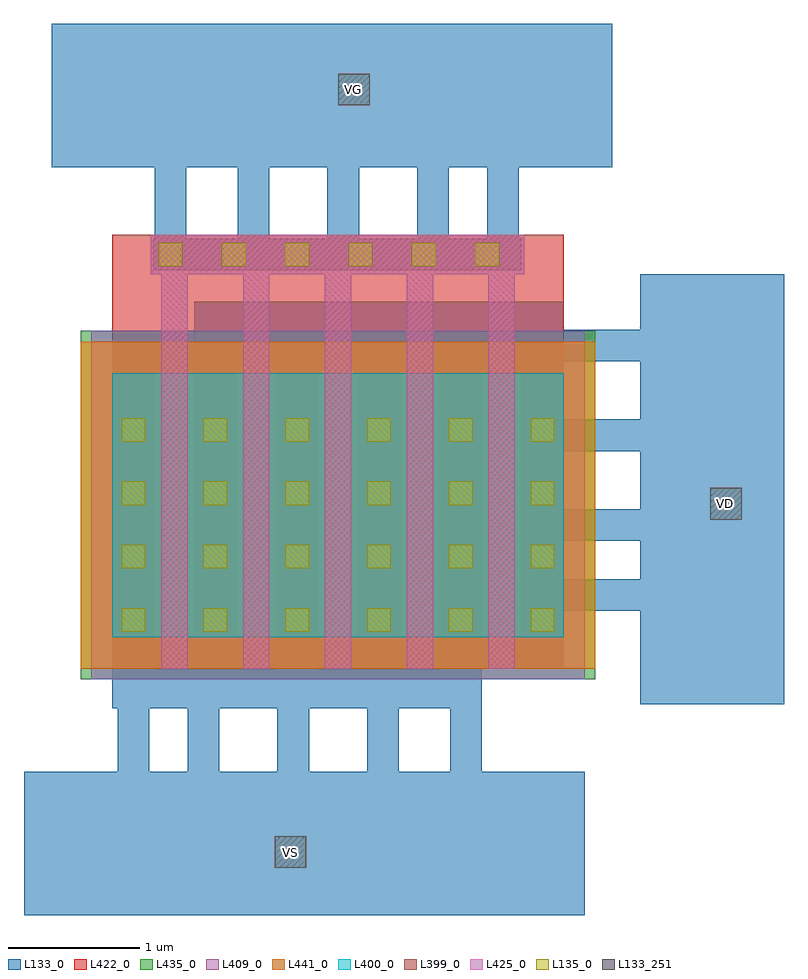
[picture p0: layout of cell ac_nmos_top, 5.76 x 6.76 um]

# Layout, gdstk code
import gdstk
lib = gdstk.Library(unit=1e-6, precision=1e-09)
def R(c, l, rs):  # rectangles x0, y0, x1, y1
    for r in rs: c.add(gdstk.rectangle(r[:2], r[2:], *l))
def A(c, l, x, y, w, h, nx, ny, dx, dy):  # array of equal rectangles
    R(c, l, [(x+i*dx, y+j*dy, x+i*dx+w, y+j*dy+h) for i in range(nx) for j in range(ny)])
L133_0 = (133, 0)
L133_251 = (133, 251)
L135_0 = (135, 0)
L399_0 = (399, 0)
L400_0 = (400, 0)
L409_0 = (409, 0)
L422_0 = (422, 0)
L425_0 = (425, 0)
L435_0 = (435, 0)
L441_0 = (441, 0)

nmos_hs_4_top__1 = lib.new_cell('nmos_hs_4_top$$1')
A(nmos_hs_4_top__1, L133_0, -0.37, -0.3, 0.32, 0.34, 3, 1, 1.24, 0)
A(nmos_hs_4_top__1, L133_0, -0.37, 0, 0.32, 2, 6, 1, 0.62, 0)
A(nmos_hs_4_top__1, L133_0, 0.25, 1.9, 0.32, 0.34, 3, 1, 1.24, 0)
A(nmos_hs_4_top__1, L133_0, -0.06, 2.78, 0.31, 0.24, 9, 1, 0.31, 0)
R(nmos_hs_4_top__1, L133_0, [(-0.37,-0.54,1.19,-0.24), (0.87,-0.54,2.43,-0.24), (-0.28,0.06,-0.14,0.2), (0.34,0.06,0.48,0.2), (0.25,2.24,1.81,2.54), (1.49,2.24,3.05,2.54), (0,2.83,0.14,2.97)])
A(nmos_hs_4_top__1, L135_0, -0.3, 0.04, 0.18, 0.18, 6, 4, 0.62, 0.48)
A(nmos_hs_4_top__1, L135_0, -0.02, 2.81, 0.18, 0.18, 6, 1, 0.48, 0)
A(nmos_hs_4_top__1, L399_0, 0, -0.24, 0.2, 2.99, 5, 1, 0.62, 0)
A(nmos_hs_4_top__1, L399_0, -0.08, 2.75, 0.35, 0.3, 5, 1, 0.62, 0)
A(nmos_hs_4_top__1, L399_0, 0.27, 2.75, 0.27, 0.3, 4, 1, 0.62, 0)
R(nmos_hs_4_top__1, L399_0, [(0.04,0.1,0.1,0.18)])
A(nmos_hs_4_top__1, L400_0, -0.37, 0, 0.32, 2, 6, 1, 0.62, 0)
A(nmos_hs_4_top__1, L400_0, 0, 0, 0.2, 2, 5, 1, 0.62, 0)
R(nmos_hs_4_top__1, L400_0, [(-0.05,0,0,2), (0.2,0,0.25,2), (0.57,0,0.62,2), (0.82,0,0.87,2), (1.19,0,1.24,2), (1.44,0,1.49,2), (1.81,0,1.86,2), (2.06,0,2.11,2), (2.43,0,2.48,2), (2.68,0,2.73,2)])
R(nmos_hs_4_top__1, L409_0, [(-0.53,-0.32,3.21,2.32)])
R(nmos_hs_4_top__1, L422_0, [(-0.37,-0.24,3.05,3.05)])
A(nmos_hs_4_top__1, L425_0, 0, -0.24, 0.2, 2.99, 5, 1, 0.62, 0)
A(nmos_hs_4_top__1, L425_0, -0.08, 2.75, 0.35, 0.3, 5, 1, 0.62, 0)
A(nmos_hs_4_top__1, L425_0, 0.27, 2.75, 0.27, 0.3, 4, 1, 0.62, 0)
R(nmos_hs_4_top__1, L435_0, [(-0.61,-0.32,3.29,2.32)])
R(nmos_hs_4_top__1, L441_0, [(-0.61,-0.24,3.29,2.24)])

ac_nmos_top = lib.new_cell('ac_nmos_top')
R(ac_nmos_top, L133_0, [(-0.09,-0.55,4.16,0.54), (4.58,1.05,5.67,4.31), (0.12,5.12,4.37,6.21)])
R(ac_nmos_top, L133_251, [(1.81,-0.19,2.05,0.05), (5.11,2.45,5.35,2.69), (2.29,5.59,2.53,5.83)])
ac_nmos_top.add(gdstk.FlexPath([(3.85,1.88),(4.86,1.88)], 0.24, ends="flush", simple_path=True, layer=133, datatype=0))  # L133_0
ac_nmos_top.add(gdstk.FlexPath([(3.83,2.41),(4.84,2.41)], 0.24, ends="flush", simple_path=True, layer=133, datatype=0))  # L133_0
ac_nmos_top.add(gdstk.FlexPath([(3.84,3.09),(4.85,3.09)], 0.24, ends="flush", simple_path=True, layer=133, datatype=0))  # L133_0
ac_nmos_top.add(gdstk.FlexPath([(3.85,3.77),(4.86,3.77)], 0.24, ends="flush", simple_path=True, layer=133, datatype=0))  # L133_0
ac_nmos_top.add(gdstk.FlexPath([(0.74,1.27),(0.74,0.26)], 0.24, ends="flush", simple_path=True, layer=133, datatype=0))  # L133_0
ac_nmos_top.add(gdstk.FlexPath([(1.27,1.29),(1.27,0.28)], 0.24, ends="flush", simple_path=True, layer=133, datatype=0))  # L133_0
ac_nmos_top.add(gdstk.FlexPath([(3.26,1.29),(3.26,0.28)], 0.24, ends="flush", simple_path=True, layer=133, datatype=0))  # L133_0
ac_nmos_top.add(gdstk.FlexPath([(2.63,1.27),(2.63,0.26)], 0.24, ends="flush", simple_path=True, layer=133, datatype=0))  # L133_0
ac_nmos_top.add(gdstk.FlexPath([(1.95,1.28),(1.95,0.27)], 0.24, ends="flush", simple_path=True, layer=133, datatype=0))  # L133_0
ac_nmos_top.add(gdstk.FlexPath([(3.54,4.39),(3.54,5.4)], 0.24, ends="flush", simple_path=True, layer=133, datatype=0))  # L133_0
ac_nmos_top.add(gdstk.FlexPath([(3.01,4.37),(3.01,5.38)], 0.24, ends="flush", simple_path=True, layer=133, datatype=0))  # L133_0
ac_nmos_top.add(gdstk.FlexPath([(1.02,4.37),(1.02,5.38)], 0.24, ends="flush", simple_path=True, layer=133, datatype=0))  # L133_0
ac_nmos_top.add(gdstk.FlexPath([(1.65,4.39),(1.65,5.4)], 0.24, ends="flush", simple_path=True, layer=133, datatype=0))  # L133_0
ac_nmos_top.add(gdstk.FlexPath([(2.33,4.38),(2.33,5.39)], 0.24, ends="flush", simple_path=True, layer=133, datatype=0))  # L133_0
ac_nmos_top.add(gdstk.Reference(nmos_hs_4_top__1, (0.95,1.56)))
ac_nmos_top.add(gdstk.Label('VS', (1.93,-0.07), layer=133, texttype=251))
ac_nmos_top.add(gdstk.Label('VG', (2.41,5.71), layer=133, texttype=251))
ac_nmos_top.add(gdstk.Label('VD', (5.23,2.57), layer=133, texttype=251))

lib.write_gds('ac_nmos_top.gds')
